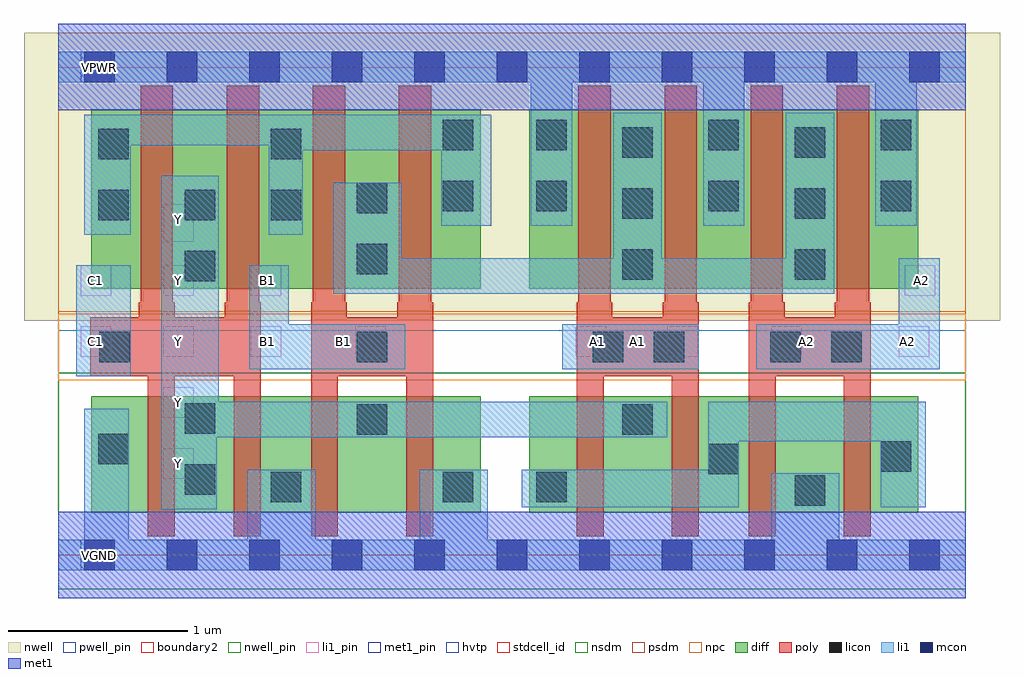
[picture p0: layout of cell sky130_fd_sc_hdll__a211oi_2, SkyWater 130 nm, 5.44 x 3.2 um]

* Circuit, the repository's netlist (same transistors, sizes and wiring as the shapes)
* Copyright 2020 The SkyWater PDK Authors
*
* Licensed under the Apache License, Version 2.0 (the "License");
* you may not use this file except in compliance with the License.
* You may obtain a copy of the License at
*
*     https://www.apache.org/licenses/LICENSE-2.0
*
* Unless required by applicable law or agreed to in writing, software
* distributed under the License is distributed on an "AS IS" BASIS,
* WITHOUT WARRANTIES OR CONDITIONS OF ANY KIND, either express or implied.
* See the License for the specific language governing permissions and
* limitations under the License.
*
* SPDX-License-Identifier: Apache-2.0

.SUBCKT sky130_fd_sc_hdll__a211oi_2 A1 A2 B1 C1 VGND VNB VPB VPWR Y
*.PININFO A1:I A2:I B1:I C1:I VGND:I VNB:I VPB:I VPWR:I Y:O
MMPA0 pndA A1 VPWR VPB sky130_fd_pr__pfet_01v8_hvt m=2 w=1.0U l=0.18U mult=1 sa=0.265
+ sb=0.265 sd=0.28 area=0.063 perim=1.14
MMPA1 pndA A2 VPWR VPB sky130_fd_pr__pfet_01v8_hvt m=2 w=1.0U l=0.18U mult=1 sa=0.265
+ sb=0.265 sd=0.28 area=0.063 perim=1.14
MMPB0 pndB B1 pndA VPB sky130_fd_pr__pfet_01v8_hvt m=2 w=1.0U l=0.18U mult=1 sa=0.265
+ sb=0.265 sd=0.28 area=0.063 perim=1.14
MMPC0 Y C1 pndB VPB sky130_fd_pr__pfet_01v8_hvt m=2 w=1.0U l=0.18U mult=1 sa=0.265
+ sb=0.265 sd=0.28 area=0.063 perim=1.14
MMNA0 Y A1 sndA1 VNB sky130_fd_pr__nfet_01v8 m=2 w=0.65U l=0.15U mult=1 sa=0.265
+ sb=0.265 sd=0.28 area=0.063 perim=1.14
MMNA1 sndA1 A2 VGND VNB sky130_fd_pr__nfet_01v8 m=2 w=0.65U l=0.15U mult=1 sa=0.265
+ sb=0.265 sd=0.28 area=0.063 perim=1.14
MMNB0 Y B1 VGND VNB sky130_fd_pr__nfet_01v8 m=2 w=0.65U l=0.15U mult=1 sa=0.265
+ sb=0.265 sd=0.28 area=0.063 perim=1.14
MMNC0 Y C1 VGND VNB sky130_fd_pr__nfet_01v8 m=2 w=0.65U l=0.15U mult=1 sa=0.265
+ sb=0.265 sd=0.28 area=0.063 perim=1.14
.ENDS sky130_fd_sc_hdll__a211oi_2

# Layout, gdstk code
import gdstk
lib = gdstk.Library(unit=1e-6, precision=1e-09)
def R(c, l, rs):  # rectangles x0, y0, x1, y1
    for r in rs: c.add(gdstk.rectangle(r[:2], r[2:], *l))
def A(c, l, x, y, w, h, nx, ny, dx, dy):  # array of equal rectangles
    R(c, l, [(x+i*dx, y+j*dy, x+i*dx+w, y+j*dy+h) for i in range(nx) for j in range(ny)])
def P(c, l, *ps):  # polygons
    for p in ps: c.add(gdstk.Polygon(p, *l))
nwell_pin = (64, 16)
nwell = (64, 20)
diff = (65, 20)
poly = (66, 20)
licon = (66, 44)
li1_pin = (67, 16)
li1 = (67, 20)
mcon = (67, 44)
met1_pin = (68, 16)
met1 = (68, 20)
hvtp = (78, 44)
stdcell_id = (81, 4)
nsdm = (93, 44)
psdm = (94, 20)
npc = (95, 20)
pwell_pin = (122, 16)
boundary2 = (236, 0)

sky130_fd_sc_hdll__a211o = lib.new_cell('sky130_fd_sc_hdll__a211oi_2')
R(sky130_fd_sc_hdll__a211o, nwell_pin, [(0.125,2.635,0.295,2.805)])
R(sky130_fd_sc_hdll__a211o, nwell, [(-0.19,1.305,5.25,2.91)])
R(sky130_fd_sc_hdll__a211o, diff, [(0.185,0.235,2.355,0.885), (2.625,0.235,4.795,0.885), (0.185,1.485,2.355,2.485), (2.625,1.485,4.795,2.485)])
P(sky130_fd_sc_hdll__a211o, poly, [(1.13,1.41),(1.12,1.41),(1.12,2.615),(0.94,2.615),(0.94,1.41),(0.93,1.41),(0.93,1.325),(0.65,1.325),(0.65,1.41),(0.64,1.41),(0.64,2.615),(0.46,2.615),(0.46,1.41),(0.45,1.41),(0.45,1.325),(0.18,1.325),(0.18,0.995),(0.5,0.995),(0.5,0.105),(0.65,0.105),(0.65,0.995),(0.98,0.995),(0.98,0.105),(1.13,0.105)],
  [(2.09,1.41),(2.08,1.41),(2.08,2.615),(1.9,2.615),(1.9,1.41),(1.89,1.41),(1.89,1.325),(1.61,1.325),(1.61,1.41),(1.6,1.41),(1.6,2.615),(1.42,2.615),(1.42,1.41),(1.41,1.41),(1.41,0.105),(1.56,0.105),(1.56,0.995),(1.94,0.995),(1.94,0.105),(2.09,0.105)],
  [(3.57,1.41),(3.56,1.41),(3.56,2.615),(3.38,2.615),(3.38,1.41),(3.37,1.41),(3.37,1.325),(3.09,1.325),(3.09,1.41),(3.08,1.41),(3.08,2.615),(2.9,2.615),(2.9,1.41),(2.89,1.41),(2.89,0.105),(3.04,0.105),(3.04,0.995),(3.42,0.995),(3.42,0.105),(3.57,0.105)],
  [(4.53,1.41),(4.52,1.41),(4.52,2.615),(4.34,2.615),(4.34,1.41),(4.33,1.41),(4.33,1.325),(4.05,1.325),(4.05,1.41),(4.04,1.41),(4.04,2.615),(3.86,2.615),(3.86,1.41),(3.85,1.41),(3.85,0.105),(4,0.105),(4,0.995),(4.38,0.995),(4.38,0.105),(4.53,0.105)])
A(sky130_fd_sc_hdll__a211o, licon, 3.145, 1.535, 0.17, 0.17, 1, 3, 0, 0.34)
A(sky130_fd_sc_hdll__a211o, licon, 4.105, 1.535, 0.17, 0.17, 1, 3, 0, 0.34)
A(sky130_fd_sc_hdll__a211o, licon, 0.225, 1.865, 0.17, 0.17, 3, 1, 0.48, 0)
A(sky130_fd_sc_hdll__a211o, licon, 2.665, 1.915, 0.17, 0.17, 3, 2, 0.96, 0.34)
R(sky130_fd_sc_hdll__a211o, licon, [(4.105,0.275,4.275,0.445), (1.185,0.295,1.355,0.465), (2.145,0.295,2.315,0.465), (2.665,0.295,2.835,0.465), (0.705,0.335,0.875,0.505), (3.625,0.45,3.795,0.62), (4.585,0.465,4.755,0.635), (0.225,0.505,0.395,0.675), (1.665,0.67,1.835,0.84), (3.145,0.67,3.315,0.84), (0.705,0.675,0.875,0.845), (0.23,1.075,0.4,1.245), (1.665,1.075,1.835,1.245), (2.98,1.075,3.15,1.245), (3.32,1.075,3.49,1.245), (3.97,1.075,4.14,1.245), (4.31,1.075,4.48,1.245), (0.705,1.525,0.875,1.695), (1.665,1.565,1.835,1.735), (1.665,1.905,1.835,2.075), (2.145,1.915,2.315,2.085), (0.225,2.205,0.395,2.375), (1.185,2.205,1.355,2.375), (2.145,2.255,2.315,2.425)])
A(sky130_fd_sc_hdll__a211o, li1_pin, 0.585, 0.425, 0.17, 0.17, 1, 4, 0, 0.34)
R(sky130_fd_sc_hdll__a211o, li1_pin, [(0.125,1.105,0.295,1.275), (1.075,1.105,1.245,1.275), (1.655,1.105,1.825,1.275), (2.885,1.105,3.055,1.275), (3.395,1.105,3.565,1.275), (3.975,1.105,4.145,1.275), (4.685,1.105,4.855,1.275), (0.125,1.445,0.295,1.615), (1.075,1.445,1.245,1.615), (4.72,1.445,4.89,1.615), (0.585,1.745,0.755,1.955)])
R(sky130_fd_sc_hdll__a211o, li1, [(0.1,0.995,0.405,1.615), (2.81,1.035,3.57,1.285)])
P(sky130_fd_sc_hdll__a211o, li1, [(5.06,2.805),(0,2.805),(0,2.635),(2.635,2.635),(2.635,1.835),(2.865,1.835),(2.865,2.635),(3.595,2.635),(3.595,1.835),(3.825,1.835),(3.825,2.635),(4.555,2.635),(4.555,1.835),(4.785,1.835),(4.785,2.635),(5.06,2.635)],
  [(5.06,0.085),(4.355,0.085),(4.355,0.455),(3.975,0.455),(3.975,0.085),(2.395,0.085),(2.395,0.475),(2.015,0.475),(2.015,0.085),(1.435,0.085),(1.435,0.475),(1.055,0.475),(1.055,0.085),(0.395,0.085),(0.395,0.815),(0.145,0.815),(0.145,0.085),(0,0.085),(0,-0.085),(5.06,-0.085)],
  [(3.395,0.855),(0.895,0.855),(0.895,2.115),(0.575,2.115),(0.575,0.255),(0.885,0.255),(0.885,0.655),(3.395,0.655)],
  [(4.915,1.655),(4.685,1.655),(4.685,1.285),(3.89,1.285),(3.89,1.035),(4.915,1.035)],
  [(4.835,0.855),(3.625,0.855),(3.625,0.475),(2.585,0.475),(2.585,0.265),(3.795,0.265),(3.795,0.635),(4.585,0.635),(4.585,0.265),(4.835,0.265)],
  [(4.325,2.465),(4.055,2.465),(4.055,1.655),(3.365,1.655),(3.365,2.465),(3.095,2.465),(3.095,1.655),(1.915,1.655),(1.915,2.075),(1.535,2.075),(1.535,1.455),(4.325,1.455)],
  [(2.415,2.455),(0.145,2.455),(0.145,1.785),(0.405,1.785),(0.405,2.285),(1.175,2.285),(1.175,1.785),(1.365,1.785),(1.365,2.255),(2.135,2.255),(2.135,1.835),(2.415,1.835)],
  [(1.065,1.035),(1.065,1.615),(1.285,1.615),(1.285,1.285),(1.935,1.285),(1.935,1.035)])
A(sky130_fd_sc_hdll__a211o, mcon, 0.145, -0.085, 0.17, 0.17, 11, 2, 0.46, 2.72)
R(sky130_fd_sc_hdll__a211o, met1_pin, [(0.125,-0.085,0.295,0.085), (0.125,2.635,0.295,2.805)])
R(sky130_fd_sc_hdll__a211o, met1, [(0,-0.24,5.06,0.24), (0,2.48,5.06,2.96)])
R(sky130_fd_sc_hdll__a211o, hvtp, [(0,1.25,5.06,2.72)])
R(sky130_fd_sc_hdll__a211o, stdcell_id, [(0,0,5.06,2.72)])
R(sky130_fd_sc_hdll__a211o, nsdm, [(0,-0.19,5.06,1.015)])
R(sky130_fd_sc_hdll__a211o, psdm, [(0,1.355,5.06,2.91)])
R(sky130_fd_sc_hdll__a211o, npc, [(0,0.975,5.06,1.345)])
R(sky130_fd_sc_hdll__a211o, pwell_pin, [(0.125,-0.085,0.295,0.085)])
R(sky130_fd_sc_hdll__a211o, boundary2, [(0,0,5.06,2.72)])
sky130_fd_sc_hdll__a211o.add(gdstk.Label('A2', (4.735,1.19), layer=67, texttype=5))
sky130_fd_sc_hdll__a211o.add(gdstk.Label('C1', (0.21,1.19), layer=67, texttype=5))
sky130_fd_sc_hdll__a211o.add(gdstk.Label('C1', (0.21,1.53), layer=67, texttype=5))
sky130_fd_sc_hdll__a211o.add(gdstk.Label('B1', (1.59,1.19), layer=67, texttype=5))
sky130_fd_sc_hdll__a211o.add(gdstk.Label('Y', (0.67,1.53), layer=67, texttype=5))
sky130_fd_sc_hdll__a211o.add(gdstk.Label('Y', (0.67,1.87), layer=67, texttype=5))
sky130_fd_sc_hdll__a211o.add(gdstk.Label('Y', (0.67,1.19), layer=67, texttype=5))
sky130_fd_sc_hdll__a211o.add(gdstk.Label('Y', (0.67,0.85), layer=67, texttype=5))
sky130_fd_sc_hdll__a211o.add(gdstk.Label('Y', (0.67,0.51), layer=67, texttype=5))
sky130_fd_sc_hdll__a211o.add(gdstk.Label('A1', (3.005,1.19), layer=67, texttype=5))
sky130_fd_sc_hdll__a211o.add(gdstk.Label('A2', (4.815,1.53), layer=67, texttype=5))
sky130_fd_sc_hdll__a211o.add(gdstk.Label('A1', (3.23,1.19), layer=67, texttype=5))
sky130_fd_sc_hdll__a211o.add(gdstk.Label('B1', (1.165,1.19), layer=67, texttype=5))
sky130_fd_sc_hdll__a211o.add(gdstk.Label('A2', (4.17,1.19), layer=67, texttype=5))
sky130_fd_sc_hdll__a211o.add(gdstk.Label('B1', (1.165,1.53), layer=67, texttype=5))
sky130_fd_sc_hdll__a211o.add(gdstk.Label('VPWR', (0.23,2.72), layer=68, texttype=5))
sky130_fd_sc_hdll__a211o.add(gdstk.Label('VGND', (0.23,0), layer=68, texttype=5))
sky130_fd_sc_hdll__a211o.add(gdstk.Label('VPB', (0.23,2.72), layer=64, texttype=5))
sky130_fd_sc_hdll__a211o.add(gdstk.Label('VNB', (0.23,0), layer=64, texttype=59))
sky130_fd_sc_hdll__a211o.add(gdstk.Label('a211oi_2', (0,0), layer=83, texttype=44))

lib.write_gds('sky130_fd_sc_hdll__a211oi_2.gds')
